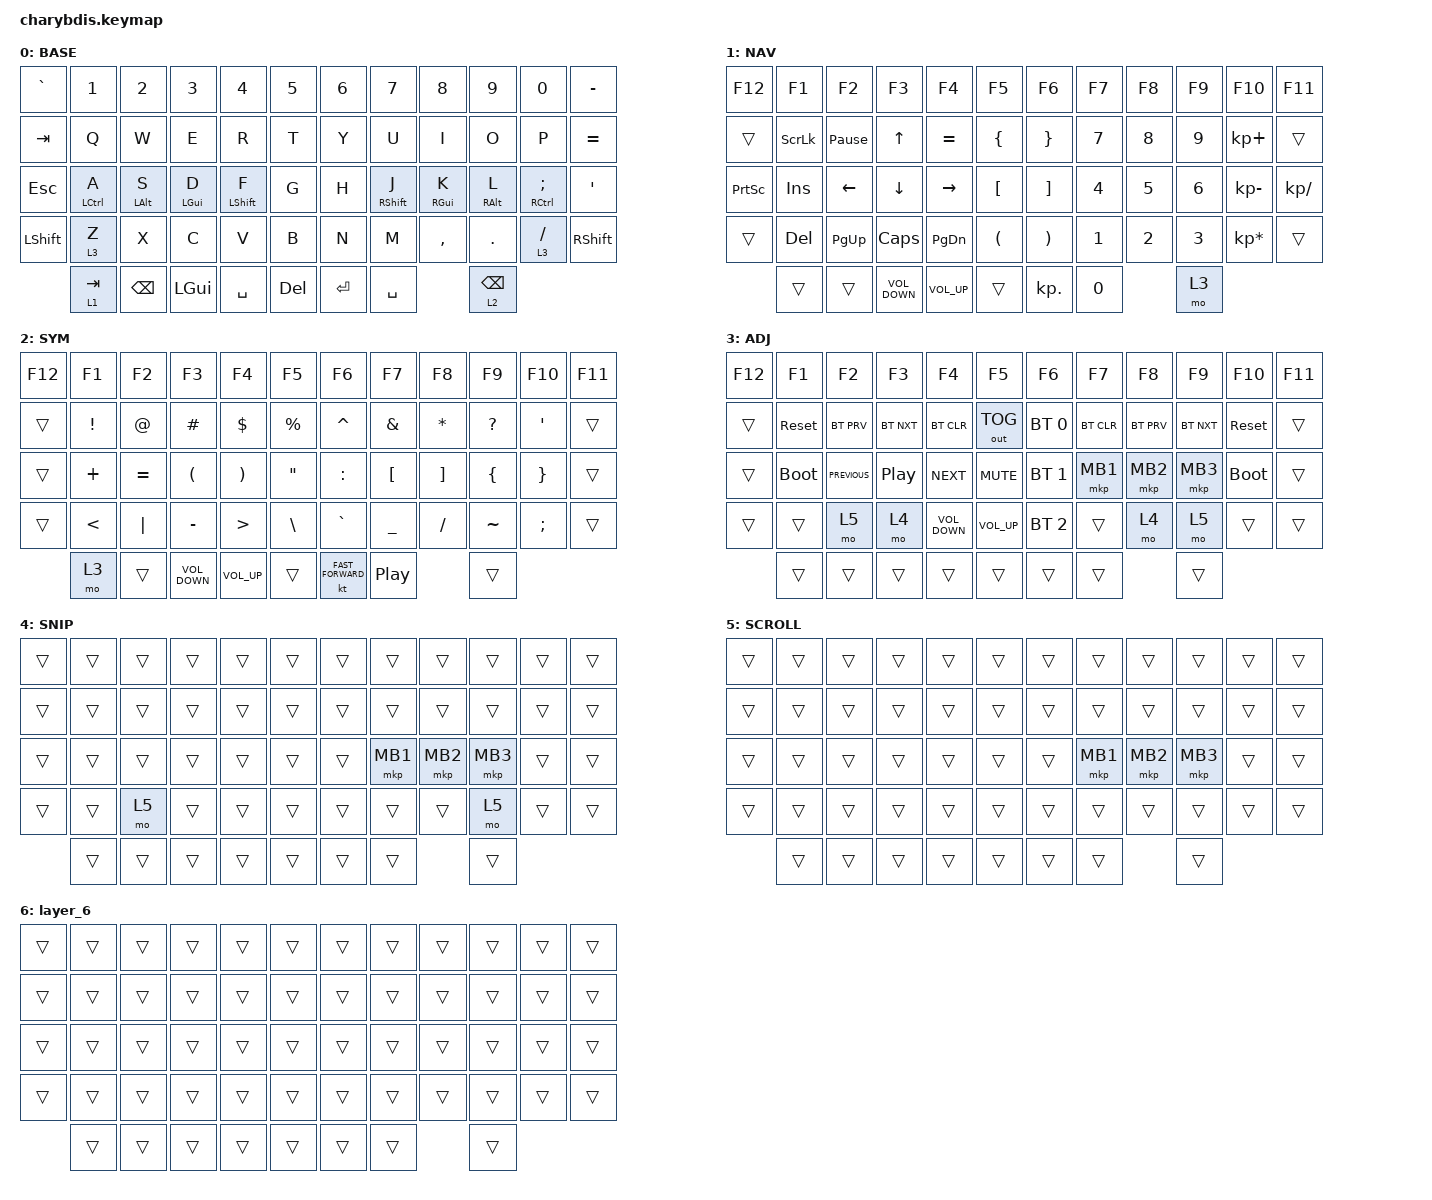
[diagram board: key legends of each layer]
#include <dt-bindings/zmk/mouse.h>
#include <behaviors/mouse_keys.dtsi>
#include <behaviors.dtsi>
#include <dt-bindings/zmk/bt.h>
#include <dt-bindings/zmk/keys.h>
#include <dt-bindings/zmk/outputs.h>
#include <dt-bindings/zmk/pointing.h>

/ {
    chosen { zmk,matrix_transform = &default_transform; };
};

&mt {
    quick-tap-ms = <200>;
    flavor = "tap-preferred";
    tapping-term-ms = <170>;
};

&lt {
    quick-tap-ms = <200>;
    flavor = "tap-preferred";
    tapping-term-ms = <170>;
};

/ {
    combos {
        compatible = "zmk,combos";

        combo_esc {
            timeout-ms = <50>;
            key-positions = <0 1>;
            bindings = <&kp ESC>;
        };
    };

    keymap {
        compatible = "zmk,keymap";

        BASE {
            bindings = <
&kp GRAVE   &kp N1       &kp N2         &kp N3      &kp N4        &kp N5   &kp N6            &kp N7        &kp N8      &kp N9           &kp N0          &kp MINUS
&kp TAB     &kp Q        &kp W          &kp E       &kp R         &kp T               &kp Y  &kp U         &kp I       &kp O            &kp P           &kp EQUAL
&kp ESC     &mt LCTRL A  &mt LALT S     &mt LGUI D  &mt LSHIFT F  &kp G               &kp H  &mt RSHIFT J  &mt RGUI K  &mt RALT L       &mt RCTRL SEMI  &kp APOS
&kp LSHIFT  &lt 3 Z      &kp X          &kp C       &kp V         &kp B               &kp N  &kp M         &kp COMMA   &kp DOT          &lt 3 SLASH     &kp RSHIFT
            &lt 1 TAB    &kp BACKSPACE  &kp LGUI    &kp SPACE     &kp DEL  &kp ENTER         &kp SPACE                 &lt 2 BACKSPACE
            >;
        };

        NAV {
            bindings = <
&kp F12          &kp F1          &kp F2           &kp F3             &kp F4           &kp F5    &kp F6                &kp F7  &kp F8  &kp F9  &kp F10          &kp F11
&trans           &kp SCROLLLOCK  &kp PAUSE_BREAK  &kp UP             &kp EQUAL        &kp LBRC              &kp RBRC  &kp N7  &kp N8  &kp N9  &kp KP_PLUS      &trans
&kp PRINTSCREEN  &kp INSERT      &kp LEFT         &kp DOWN           &kp RIGHT        &kp LBKT              &kp RBKT  &kp N4  &kp N5  &kp N6  &kp KP_MINUS     &kp KP_DIVIDE
&trans           &kp DEL         &kp PG_UP        &kp CAPS           &kp PG_DN        &kp LPAR              &kp RPAR  &kp N1  &kp N2  &kp N3  &kp KP_MULTIPLY  &trans
                 &trans          &trans           &kp C_VOLUME_DOWN  &kp C_VOLUME_UP  &trans    &kp KP_DOT            &kp N0          &mo 3
            >;
        };

        SYM {
            bindings = <
&kp F12  &kp F1         &kp F2     &kp F3             &kp F4            &kp F5         &kp F6                         &kp F7            &kp F8     &kp F9        &kp F10        &kp F11
&trans   &kp EXCL       &kp AT     &kp HASH           &kp DLLR          &kp PRCNT                          &kp CARET  &kp AMPS          &kp STAR   &kp QUESTION  &kp SQT        &trans
&trans   &kp PLUS       &kp EQUAL  &kp LPAR           &kp RPAR          &kp DQT                            &kp COLON  &kp LBKT          &kp RBKT   &kp LBRC      &kp RBRC       &trans
&trans   &kp LESS_THAN  &kp PIPE   &kp MINUS          &kp GREATER_THAN  &kp BACKSLASH                      &kp GRAVE  &kp UNDERSCORE    &kp SLASH  &kp TILDE     &kp SEMICOLON  &trans
         &mo 3          &trans     &kp C_VOLUME_DOWN  &kp C_VOLUME_UP   &trans         &kt C_FAST_FORWARD             &kp C_PLAY_PAUSE             &trans
            >;
        };

        ADJ {
            bindings = <
&kp F12  &kp F1       &kp F2          &kp F3            &kp F4             &kp F5           &kp F6                &kp F7      &kp F8      &kp F9      &kp F10      &kp F11
&trans   &sys_reset   &bt BT_PRV      &bt BT_NXT        &bt BT_CLR         &out OUT_TOG             &bt BT_SEL 0  &bt BT_CLR  &bt BT_PRV  &bt BT_NXT  &sys_reset   &trans
&trans   &bootloader  &kp C_PREVIOUS  &kp C_PLAY_PAUSE  &kp C_NEXT         &kp C_MUTE               &bt BT_SEL 1  &mkp MB1    &mkp MB2    &mkp MB3    &bootloader  &trans
&trans   &trans       &mo 5           &mo 4             &kp C_VOLUME_DOWN  &kp C_VOLUME_UP          &bt BT_SEL 2  &trans      &mo 4       &mo 5       &trans       &trans
         &trans       &trans          &trans            &trans             &trans           &trans                &trans                  &trans
            >;
        };

        SNIP {
            bindings = <
&trans  &trans  &trans  &trans  &trans  &trans  &trans          &trans    &trans    &trans    &trans  &trans
&trans  &trans  &trans  &trans  &trans  &trans          &trans  &trans    &trans    &trans    &trans  &trans
&trans  &trans  &trans  &trans  &trans  &trans          &trans  &mkp MB1  &mkp MB2  &mkp MB3  &trans  &trans
&trans  &trans  &mo 5   &trans  &trans  &trans          &trans  &trans    &trans    &mo 5     &trans  &trans
        &trans  &trans  &trans  &trans  &trans  &trans          &trans              &trans
            >;
        };

        SCROLL {
            bindings = <
&trans  &trans  &trans  &trans  &trans  &trans  &trans          &trans    &trans    &trans    &trans  &trans
&trans  &trans  &trans  &trans  &trans  &trans          &trans  &trans    &trans    &trans    &trans  &trans
&trans  &trans  &trans  &trans  &trans  &trans          &trans  &mkp MB1  &mkp MB2  &mkp MB3  &trans  &trans
&trans  &trans  &trans  &trans  &trans  &trans          &trans  &trans    &trans    &trans    &trans  &trans
        &trans  &trans  &trans  &trans  &trans  &trans          &trans              &trans
            >;
        };

        layer_6 {
            bindings = <
&trans  &trans  &trans  &trans  &trans  &trans  &trans          &trans  &trans  &trans  &trans  &trans
&trans  &trans  &trans  &trans  &trans  &trans          &trans  &trans  &trans  &trans  &trans  &trans
&trans  &trans  &trans  &trans  &trans  &trans          &trans  &trans  &trans  &trans  &trans  &trans
&trans  &trans  &trans  &trans  &trans  &trans          &trans  &trans  &trans  &trans  &trans  &trans
        &trans  &trans  &trans  &trans  &trans  &trans          &trans          &trans
            >;
        };
    };
};
